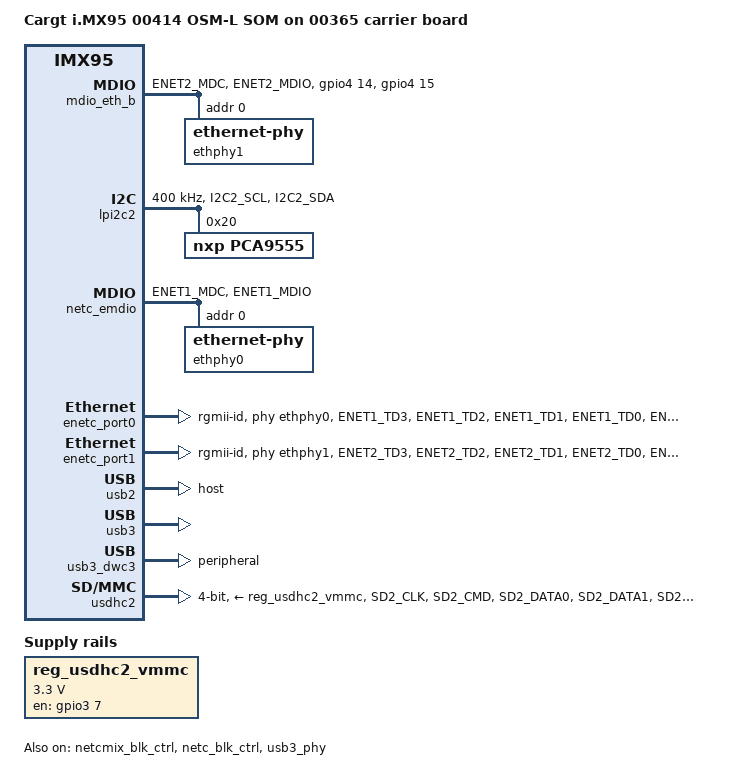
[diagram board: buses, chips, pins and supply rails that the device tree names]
// SPDX-License-Identifier: (GPL-2.0+ OR MIT)
/*
 * Copyright 2024 NXP
 * Copyright 2026 Cargt
 *
 * Cargt i.MX 95 00414 OSM-L SOM on the 00365 OSM-L carrier (U-Boot).
 * Boot-relevant subset of the kernel imx95-cargt-00414-00365.dts: microSD,
 * both RGMII Ethernet ports and the I2C_A GPIO expander that holds the
 * PHY resets (released by board_init()).
 */

/dts-v1/;

#include "imx95-cargt-00414-osm-som.dts"

/ {
	model = "Cargt i.MX95 00414 OSM-L SOM on 00365 carrier board";
	compatible = "cargt,imx95-00414-00365", "cargt,imx95-00414-osm-som",
		     "fsl,imx95";

	aliases {
		ethernet0 = &enetc_port0;
		ethernet1 = &enetc_port1;
	};

	reg_usdhc2_vmmc: regulator-usdhc2 {
		compatible = "regulator-fixed";
		pinctrl-names = "default";
		pinctrl-0 = <&pinctrl_reg_usdhc2_vmmc>;
		regulator-name = "VDD_SD2_3V3";
		regulator-min-microvolt = <3300000>;
		regulator-max-microvolt = <3300000>;
		gpio = <&gpio3 7 GPIO_ACTIVE_HIGH>;
		off-on-delay-us = <12000>;
		enable-active-high;
	};

	/* ETH_B PHY MDIO, bit-banged: NETC's single EMDIO serves ETH_A */
	mdio_eth_b: mdio {
		compatible = "virtual,mdio-gpio";
		pinctrl-names = "default";
		pinctrl-0 = <&pinctrl_mdio_eth_b>;
		gpios = <&gpio4 14 GPIO_ACTIVE_HIGH>,	/* MDC  (ENET2_MDC) */
			<&gpio4 15 GPIO_ACTIVE_HIGH>;	/* MDIO (ENET2_MDIO) */
		#address-cells = <1>;
		#size-cells = <0>;

		ethphy1: ethernet-phy@0 {
			reg = <0>;
			realtek,clkout-disable;
		};
	};
};

/* OSM I2C_A */
&lpi2c2 {
	clock-frequency = <400000>;
	pinctrl-names = "default";
	pinctrl-0 = <&pinctrl_lpi2c2>;
	status = "okay";

	pca9555_20: gpio@20 {
		compatible = "nxp,pca9555";
		gpio-controller;
		#gpio-cells = <2>;
		reg = <0x20>;
		/* GPIO bank name "pca9555@20_" used by board_init() */
		label = "pca9555";
	};
};

&netcmix_blk_ctrl {
	status = "okay";
};

&netc_blk_ctrl {
	status = "okay";
};

/* ETH_A PHY MDIO (ENET1_MDC/MDIO) */
&netc_emdio {
	pinctrl-names = "default";
	pinctrl-0 = <&pinctrl_emdio>;
	status = "okay";

	ethphy0: ethernet-phy@0 {
		reg = <0>;
		realtek,clkout-disable;
	};
};

/* OSM ETH_A */
&enetc_port0 {
	pinctrl-names = "default";
	pinctrl-0 = <&pinctrl_enetc0>;
	phy-handle = <&ethphy0>;
	phy-mode = "rgmii-id";
	status = "okay";
};

/* OSM ETH_B */
&enetc_port1 {
	pinctrl-names = "default";
	pinctrl-0 = <&pinctrl_enetc1>;
	phy-handle = <&ethphy1>;
	phy-mode = "rgmii-id";
	status = "okay";
};

/* OSM USB_A: host */
&usb2 {
	dr_mode = "host";
	disable-over-current;
	status = "okay";
};

/* OSM USB_C: peripheral for fastboot/UUU (no TCPC handling in U-Boot) */
&usb3 {
	status = "okay";
};

&usb3_dwc3 {
	dr_mode = "peripheral";
	status = "okay";
};

&usb3_phy {
	status = "okay";
};

/* OSM SDIO_A (microSD) */
&usdhc2 {
	pinctrl-names = "default", "state_100mhz", "state_200mhz", "sleep";
	pinctrl-0 = <&pinctrl_usdhc2>, <&pinctrl_usdhc2_gpio>;
	pinctrl-1 = <&pinctrl_usdhc2_100mhz>, <&pinctrl_usdhc2_gpio>;
	pinctrl-2 = <&pinctrl_usdhc2_200mhz>, <&pinctrl_usdhc2_gpio>;
	pinctrl-3 = <&pinctrl_usdhc2>, <&pinctrl_usdhc2_gpio>;
	cd-gpios = <&gpio3 0 GPIO_ACTIVE_LOW>;
	vmmc-supply = <&reg_usdhc2_vmmc>;
	bus-width = <4>;
	no-1-8-v;
	status = "okay";
};

&scmi_iomuxc {
	pinctrl_emdio: emdiogrp {
		fsl,pins = <
			IMX95_PAD_ENET1_MDC__NETCMIX_TOP_NETC_MDC		0x50e
			IMX95_PAD_ENET1_MDIO__NETCMIX_TOP_NETC_MDIO		0x90e
		>;
	};

	pinctrl_mdio_eth_b: mdioethbgrp {
		fsl,pins = <
			IMX95_PAD_ENET2_MDC__GPIO4_IO_BIT14			0x50e
			IMX95_PAD_ENET2_MDIO__GPIO4_IO_BIT15			0x90e
		>;
	};

	pinctrl_enetc0: enetc0grp {
		fsl,pins = <
			IMX95_PAD_ENET1_TD3__NETCMIX_TOP_ETH0_RGMII_TD3		0x50e
			IMX95_PAD_ENET1_TD2__NETCMIX_TOP_ETH0_RGMII_TD2		0x50e
			IMX95_PAD_ENET1_TD1__NETCMIX_TOP_ETH0_RGMII_TD1		0x50e
			IMX95_PAD_ENET1_TD0__NETCMIX_TOP_ETH0_RGMII_TD0		0x50e
			IMX95_PAD_ENET1_TX_CTL__NETCMIX_TOP_ETH0_RGMII_TX_CTL	0x57e
			IMX95_PAD_ENET1_TXC__NETCMIX_TOP_ETH0_RGMII_TX_CLK	0x58e
			IMX95_PAD_ENET1_RX_CTL__NETCMIX_TOP_ETH0_RGMII_RX_CTL	0x57e
			IMX95_PAD_ENET1_RXC__NETCMIX_TOP_ETH0_RGMII_RX_CLK	0x58e
			IMX95_PAD_ENET1_RD0__NETCMIX_TOP_ETH0_RGMII_RD0		0x57e
			IMX95_PAD_ENET1_RD1__NETCMIX_TOP_ETH0_RGMII_RD1		0x57e
			IMX95_PAD_ENET1_RD2__NETCMIX_TOP_ETH0_RGMII_RD2		0x57e
			IMX95_PAD_ENET1_RD3__NETCMIX_TOP_ETH0_RGMII_RD3		0x57e
		>;
	};

	pinctrl_enetc1: enetc1grp {
		fsl,pins = <
			IMX95_PAD_ENET2_TD3__NETCMIX_TOP_ETH1_RGMII_TD3		0x50e
			IMX95_PAD_ENET2_TD2__NETCMIX_TOP_ETH1_RGMII_TD2		0x50e
			IMX95_PAD_ENET2_TD1__NETCMIX_TOP_ETH1_RGMII_TD1		0x50e
			IMX95_PAD_ENET2_TD0__NETCMIX_TOP_ETH1_RGMII_TD0		0x50e
			IMX95_PAD_ENET2_TX_CTL__NETCMIX_TOP_ETH1_RGMII_TX_CTL	0x57e
			IMX95_PAD_ENET2_TXC__NETCMIX_TOP_ETH1_RGMII_TX_CLK	0x58e
			IMX95_PAD_ENET2_RX_CTL__NETCMIX_TOP_ETH1_RGMII_RX_CTL	0x57e
			IMX95_PAD_ENET2_RXC__NETCMIX_TOP_ETH1_RGMII_RX_CLK	0x58e
			IMX95_PAD_ENET2_RD0__NETCMIX_TOP_ETH1_RGMII_RD0		0x57e
			IMX95_PAD_ENET2_RD1__NETCMIX_TOP_ETH1_RGMII_RD1		0x57e
			IMX95_PAD_ENET2_RD2__NETCMIX_TOP_ETH1_RGMII_RD2		0x57e
			IMX95_PAD_ENET2_RD3__NETCMIX_TOP_ETH1_RGMII_RD3		0x57e
		>;
	};

	pinctrl_lpi2c2: lpi2c2grp {
		fsl,pins = <
			IMX95_PAD_I2C2_SCL__AONMIX_TOP_LPI2C2_SCL		0x40000b9e
			IMX95_PAD_I2C2_SDA__AONMIX_TOP_LPI2C2_SDA		0x40000b9e
		>;
	};

	pinctrl_reg_usdhc2_vmmc: regusdhc2vmmcgrp {
		fsl,pins = <
			IMX95_PAD_SD2_RESET_B__GPIO3_IO_BIT7			0x31e
		>;
	};

	pinctrl_usdhc2_gpio: usdhc2gpiogrp {
		fsl,pins = <
			IMX95_PAD_SD2_CD_B__GPIO3_IO_BIT0			0x31e
		>;
	};

	pinctrl_usdhc2: usdhc2grp {
		fsl,pins = <
			IMX95_PAD_SD2_CLK__USDHC2_CLK				0x158e
			IMX95_PAD_SD2_CMD__USDHC2_CMD				0x138e
			IMX95_PAD_SD2_DATA0__USDHC2_DATA0			0x138e
			IMX95_PAD_SD2_DATA1__USDHC2_DATA1			0x138e
			IMX95_PAD_SD2_DATA2__USDHC2_DATA2			0x138e
			IMX95_PAD_SD2_DATA3__USDHC2_DATA3			0x138e
			IMX95_PAD_SD2_VSELECT__USDHC2_VSELECT			0x51e
		>;
	};

	pinctrl_usdhc2_100mhz: usdhc2-100mhzgrp {
		fsl,pins = <
			IMX95_PAD_SD2_CLK__USDHC2_CLK				0x158e
			IMX95_PAD_SD2_CMD__USDHC2_CMD				0x138e
			IMX95_PAD_SD2_DATA0__USDHC2_DATA0			0x138e
			IMX95_PAD_SD2_DATA1__USDHC2_DATA1			0x138e
			IMX95_PAD_SD2_DATA2__USDHC2_DATA2			0x138e
			IMX95_PAD_SD2_DATA3__USDHC2_DATA3			0x138e
			IMX95_PAD_SD2_VSELECT__USDHC2_VSELECT			0x51e
		>;
	};

	pinctrl_usdhc2_200mhz: usdhc2-200mhzgrp {
		fsl,pins = <
			IMX95_PAD_SD2_CLK__USDHC2_CLK				0x158e
			IMX95_PAD_SD2_CMD__USDHC2_CMD				0x138e
			IMX95_PAD_SD2_DATA0__USDHC2_DATA0			0x138e
			IMX95_PAD_SD2_DATA1__USDHC2_DATA1			0x138e
			IMX95_PAD_SD2_DATA2__USDHC2_DATA2			0x138e
			IMX95_PAD_SD2_DATA3__USDHC2_DATA3			0x138e
			IMX95_PAD_SD2_VSELECT__USDHC2_VSELECT			0x51e
		>;
	};
};
